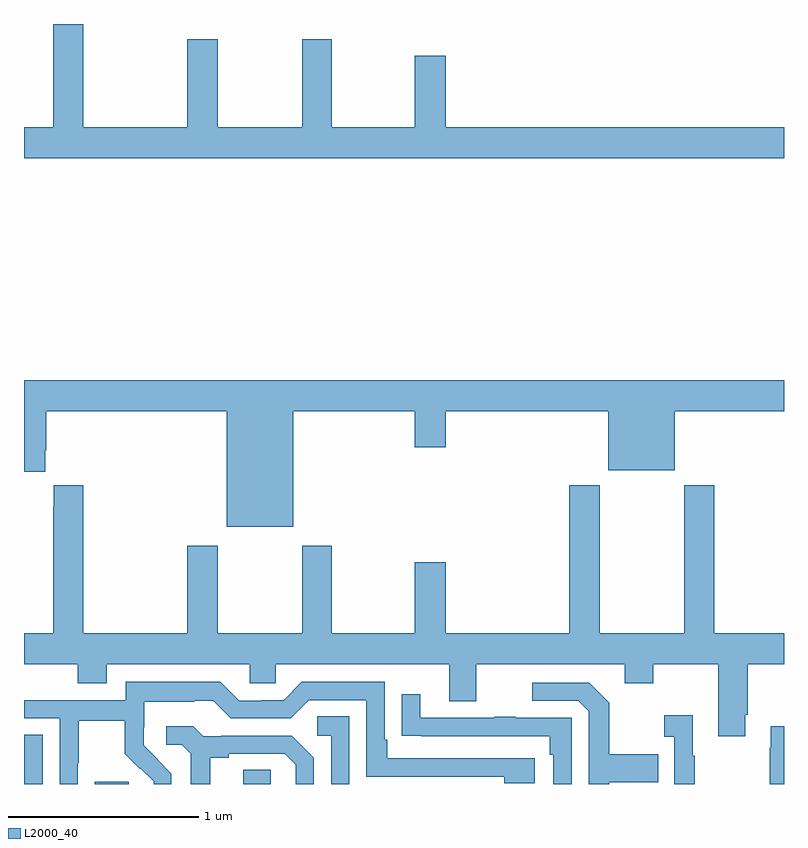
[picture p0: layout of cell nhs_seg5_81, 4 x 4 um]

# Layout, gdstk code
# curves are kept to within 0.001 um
import gdstk
lib = gdstk.Library(unit=1e-6, precision=1e-09)
def R(c, l, rs):  # rectangles x0, y0, x1, y1
    for r in rs: c.add(gdstk.rectangle(r[:2], r[2:], *l))
def P(c, l, *ps):  # polygons
    for p in ps: c.add(gdstk.Polygon(p, *l))
L2000_40 = (2000, 40)

nhs_seg5_81 = lib.new_cell('nhs_seg5_81')
R(nhs_seg5_81, L2000_40, [(115,854.799,115.099,855.059), (115.373,854.799,115.552,854.811), (116.153,854.799,116.298,854.873)])
P(nhs_seg5_81, L2000_40, [(119,858.256),(117.22,858.256),(117.22,858.631),(117.056,858.631),(117.056,858.256),(116.619,858.256),(116.619,858.718),(116.464,858.718),(116.464,858.256),(116.019,858.256),(116.019,858.718),(115.859,858.718),(115.859,858.256),(115.313,858.256),(115.313,858.799),(115.153,858.799),(115.153,858.256),(115,858.256),(115,858.092),(119,858.092)],
  [(116.416,856.76),(117.056,856.76),(117.056,856.572),(117.22,856.572),(117.22,856.76),(118.076,856.76),(118.076,856.451),(118.426,856.451),(118.426,856.76),(119,856.76),(119,856.924),(115,856.924),(115,856.443),(115.111,856.443),(115.111,856.555),(115.118,856.555),(115.118,856.76),(116.066,856.76),(116.066,856.154),(116.416,856.154)],
  [(118.795,855.163),(118.808,855.163),(118.808,855.428),(119,855.428),(119,855.592),(118.634,855.592),(118.634,856.372),(118.474,856.372),(118.474,855.592),(118.029,855.592),(118.029,856.372),(117.869,856.372),(117.869,855.592),(117.22,855.592),(117.22,855.967),(117.056,855.967),(117.056,855.592),(116.619,855.592),(116.619,856.054),(116.464,856.054),(116.464,855.592),(116.019,855.592),(116.019,856.054),(115.859,856.054),(115.859,855.592),(115.313,855.592),(115.313,856.372),(115.157,856.372),(115.157,856.259),(115.153,856.259),(115.153,855.592),(115,855.592),(115,855.428),(115.283,855.428),(115.283,855.329),(115.435,855.329),(115.435,855.428),(116.187,855.428),(116.187,855.33),(116.325,855.33),(116.325,855.428),(117.239,855.428),(117.239,855.234),(117.379,855.234),(117.379,855.428),(118.163,855.428),(118.163,855.329),(118.311,855.329),(118.311,855.428),(118.655,855.428),(118.655,855.051),(118.795,855.051)],
  [(115.284,854.908),(115.287,854.908),(115.287,855.132),(115.531,855.132),(115.531,854.957),(115.608,854.88),(115.611,854.883),(115.682,854.813),(115.682,854.799),(115.776,854.799),(115.776,854.854),(115.63,855.002),(115.63,855.099),(115.632,855.099),(115.632,855.233),(115.895,855.233),(115.895,855.237),(115.995,855.237),(116.088,855.144),(116.403,855.144),(116.499,855.24),(116.802,855.24),(116.802,854.838),(117.527,854.838),(117.527,854.804),(117.688,854.804),(117.688,854.934),(116.911,854.934),(116.911,855.031),(116.898,855.031),(116.898,855.336),(116.463,855.336),(116.367,855.24),(116.249,855.24),(116.249,855.237),(116.133,855.237),(116.033,855.337),(115.536,855.337),(115.536,855.24),(115,855.24),(115,855.144),(115.188,855.144),(115.188,854.799),(115.284,854.799)],
  [(118.081,854.807),(118.337,854.807),(118.337,854.955),(118.081,854.955),(118.081,855.227),(117.975,855.333),(117.675,855.333),(117.675,855.237),(117.918,855.237),(117.972,855.183),(117.972,854.799),(118.081,854.799)],
  [(117.882,855.147),(117.587,855.147),(117.587,855.152),(117.475,855.152),(117.475,855.147),(117.085,855.147),(117.085,855.271),(116.989,855.271),(116.989,855.052),(117.091,855.052),(117.091,855.051),(117.766,855.051),(117.766,854.954),(117.786,854.954),(117.786,854.799),(117.882,854.799)],
  [(118.531,854.947),(118.519,854.947),(118.519,855.16),(118.371,855.16),(118.371,855.047),(118.422,855.047),(118.422,854.799),(118.531,854.799)],
  [(116.712,855.155),(116.544,855.155),(116.544,855.054),(116.616,855.054),(116.616,854.799),(116.712,854.799)],
  [(119,855.103),(118.931,855.103),(118.931,854.99),(118.924,854.99),(118.924,854.799),(119,854.799)],
  [(115.981,854.936),(116.077,854.936),(116.077,854.958),(116.372,854.958),(116.429,854.901),(116.429,854.799),(116.526,854.799),(116.526,854.938),(116.41,855.054),(116.038,855.054),(116.038,855.051),(115.944,855.051),(115.892,855.103),(115.749,855.103),(115.749,855.006),(115.83,855.006),(115.877,854.959),(115.877,854.799),(115.981,854.799)])

lib.write_gds('nhs_seg5_81.gds')
